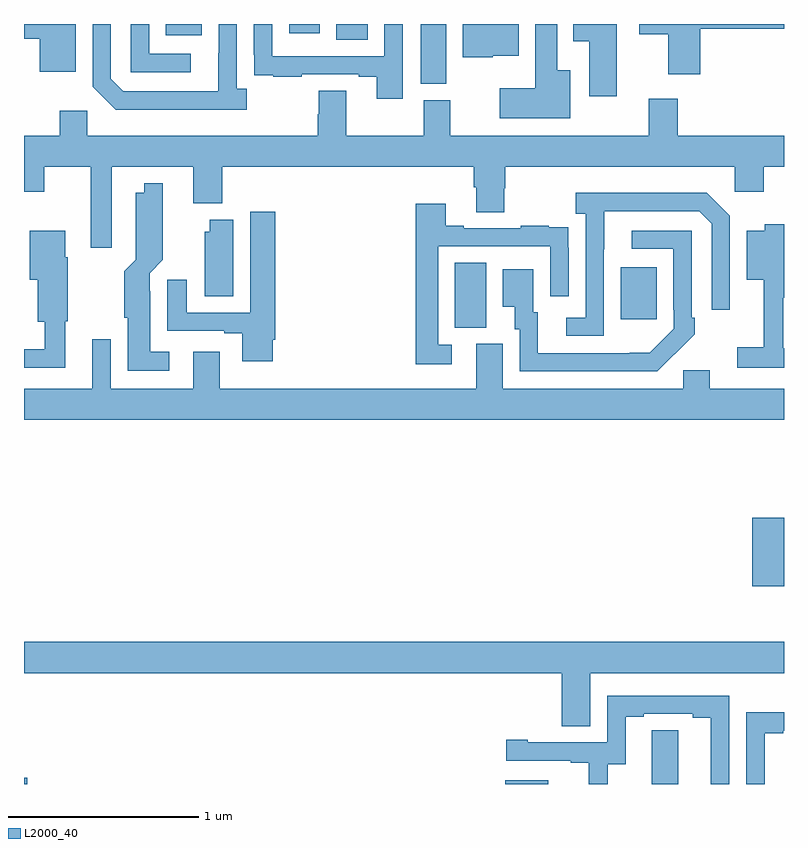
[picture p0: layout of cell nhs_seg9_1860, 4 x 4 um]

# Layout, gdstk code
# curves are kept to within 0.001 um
import gdstk
lib = gdstk.Library(unit=1e-6, precision=1e-09)
def R(c, l, rs):  # rectangles x0, y0, x1, y1
    for r in rs: c.add(gdstk.rectangle(r[:2], r[2:], *l))
def P(c, l, *ps):  # polygons
    for p in ps: c.add(gdstk.Polygon(p, *l))
L2000_40 = (2000, 40)

nhs_seg9_1860 = lib.new_cell('nhs_seg9_1860')
R(nhs_seg9_1860, L2000_40, [(215,1198.5,215.017,1198.532), (217.532,1198.5,217.759,1198.519), (218.834,1199.542,219,1199.902), (217.268,1200.901,217.432,1201.244), (218.141,1200.945,218.329,1201.219), (217.088,1202.185,217.222,1202.5), (216.644,1202.416,216.808,1202.5), (215.747,1202.441,215.935,1202.5), (216.395,1202.451,216.556,1202.5)])
P(nhs_seg9_1860, L2000_40, [(216.172,1202.158),(216.12,1202.158),(216.12,1202.5),(216.024,1202.5),(216.023,1202.145),(215.523,1202.145),(215.457,1202.211),(215.457,1202.5),(215.361,1202.5),(215.361,1202.169),(215.482,1202.048),(216.172,1202.048)],
  [(218.119,1202.5),(217.892,1202.5),(217.892,1202.408),(217.976,1202.408),(217.976,1202.121),(218.119,1202.121)],
  [(215.878,1202.343),(215.658,1202.343),(215.658,1202.5),(215.562,1202.5),(215.562,1202.247),(215.878,1202.247)],
  [(217.467,1202.333),(217.603,1202.333),(217.603,1202.5),(217.31,1202.5),(217.31,1202.324),(217.467,1202.324)],
  [(215.272,1202.5),(215,1202.5),(215,1202.423),(215.084,1202.423),(215.084,1202.249),(215.272,1202.249)],
  [(216.993,1202.5),(216.897,1202.5),(216.897,1202.331),(216.306,1202.331),(216.306,1202.5),(216.21,1202.5),(216.21,1202.338),(216.211,1202.338),(216.211,1202.229),(216.313,1202.229),(216.313,1202.223),(216.461,1202.223),(216.461,1202.235),(216.761,1202.235),(216.761,1202.223),(216.857,1202.223),(216.857,1202.106),(216.993,1202.106)],
  [(218.558,1202.474),(219,1202.474),(219,1202.5),(218.238,1202.5),(218.238,1202.446),(218.39,1202.446),(218.39,1202.235),(218.558,1202.235)],
  [(217.876,1202.257),(217.807,1202.257),(217.807,1202.5),(217.691,1202.5),(217.691,1202.161),(217.503,1202.161),(217.503,1202.003),(217.876,1202.003)],
  [(215.461,1201.748),(215.891,1201.748),(215.891,1201.556),(216.044,1201.556),(216.044,1201.748),(217.367,1201.748),(217.367,1201.642),(217.379,1201.642),(217.379,1201.51),(217.527,1201.51),(217.527,1201.635),(217.532,1201.635),(217.532,1201.748),(218.742,1201.748),(218.742,1201.617),(218.894,1201.617),(218.894,1201.748),(219,1201.748),(219,1201.912),(218.441,1201.912),(218.441,1202.107),(218.288,1202.107),(218.288,1201.912),(217.243,1201.912),(217.243,1202.1),(217.103,1202.1),(217.103,1201.912),(216.697,1201.912),(216.697,1202.15),(216.55,1202.15),(216.55,1202.025),(216.545,1202.025),(216.545,1201.912),(215.334,1201.912),(215.334,1202.044),(215.188,1202.044),(215.188,1201.912),(215,1201.912),(215,1201.617),(215.107,1201.617),(215.107,1201.748),(215.351,1201.748),(215.351,1201.323),(215.461,1201.323)],
  [(215.764,1200.775),(215.665,1200.775),(215.665,1201.094),(215.661,1201.094),(215.661,1201.188),(215.731,1201.258),(215.73,1201.663),(215.633,1201.663),(215.633,1201.612),(215.588,1201.612),(215.588,1201.258),(215.528,1201.199),(215.528,1200.954),(215.546,1200.954),(215.546,1200.674),(215.764,1200.674)],
  [(218.052,1201.315),(218.053,1201.515),(218.553,1201.515),(218.619,1201.449),(218.619,1200.996),(218.715,1200.996),(218.715,1201.491),(218.594,1201.612),(217.905,1201.612),(217.905,1201.502),(217.956,1201.502),(217.956,1200.954),(217.854,1200.954),(217.854,1200.858),(218.052,1200.858)],
  [(217.252,1200.813),(217.179,1200.813),(217.179,1201.329),(217.77,1201.329),(217.77,1201.068),(217.866,1201.068),(217.866,1201.322),(217.865,1201.322),(217.865,1201.431),(217.763,1201.431),(217.763,1201.438),(217.615,1201.438),(217.615,1201.425),(217.315,1201.425),(217.315,1201.438),(217.219,1201.438),(217.219,1201.555),(217.063,1201.555),(217.063,1200.708),(217.252,1200.708)],
  [(216.31,1200.838),(216.323,1200.838),(216.323,1201.513),(216.191,1201.513),(216.191,1200.981),(215.857,1200.981),(215.857,1201.153),(215.753,1201.153),(215.753,1200.885),(216.053,1200.885),(216.053,1200.873),(216.149,1200.873),(216.149,1200.726),(216.31,1200.726)],
  [(216.1,1201.471),(215.978,1201.471),(215.978,1201.407),(215.951,1201.407),(215.951,1201.066),(216.1,1201.066)],
  [(219,1200.793),(218.996,1200.793),(218.996,1201.058),(219,1201.058),(219,1201.447),(218.898,1201.447),(218.898,1201.411),(218.804,1201.411),(218.804,1201.154),(218.894,1201.154),(218.894,1200.799),(218.754,1200.799),(218.754,1200.69),(219,1200.69)],
  [(218.423,1200.763),(218.424,1200.762),(218.529,1200.867),(218.529,1200.955),(218.514,1200.955),(218.514,1201.413),(218.199,1201.413),(218.199,1201.317),(218.418,1201.317),(218.418,1200.997),(218.421,1200.997),(218.421,1200.897),(218.293,1200.769),(217.705,1200.768),(217.705,1200.984),(217.681,1200.984),(217.681,1201.21),(217.52,1201.21),(217.52,1201.013),(217.583,1201.013),(217.583,1200.894),(217.608,1200.894),(217.608,1200.672),(218.332,1200.672)],
  [(215.218,1200.936),(215.23,1200.936),(215.23,1201.272),(215.218,1201.272),(215.218,1201.411),(215.03,1201.411),(215.03,1201.154),(215.072,1201.154),(215.072,1200.932),(215.109,1200.932),(215.109,1200.787),(215,1200.787),(215,1200.69),(215.218,1200.69)],
  [(219,1200.58),(218.608,1200.58),(218.608,1200.678),(218.469,1200.678),(218.469,1200.58),(217.519,1200.58),(217.519,1200.816),(217.379,1200.816),(217.379,1200.58),(216.031,1200.58),(216.031,1200.775),(215.891,1200.775),(215.891,1200.58),(215.457,1200.58),(215.457,1200.841),(215.36,1200.841),(215.36,1200.58),(215,1200.58),(215,1200.416),(219,1200.416)],
  [(217.981,1199.084),(219,1199.084),(219,1199.248),(215,1199.248),(215,1199.084),(217.829,1199.084),(217.829,1198.804),(217.981,1198.804)],
  [(218.073,1198.603),(218.167,1198.603),(218.167,1198.854),(218.263,1198.854),(218.263,1198.869),(218.519,1198.869),(218.519,1198.849),(218.615,1198.849),(218.615,1198.5),(218.712,1198.5),(218.712,1198.965),(218.07,1198.965),(218.07,1198.719),(217.651,1198.719),(217.651,1198.732),(217.539,1198.732),(217.539,1198.623),(217.877,1198.623),(217.877,1198.611),(217.973,1198.611),(217.973,1198.5),(218.073,1198.5)],
  [(218.899,1198.767),(218.995,1198.767),(218.995,1198.779),(219,1198.779),(219,1198.877),(218.802,1198.877),(218.802,1198.5),(218.899,1198.5)],
  [(218.443,1198.784),(218.304,1198.784),(218.304,1198.676),(218.303,1198.676),(218.303,1198.5),(218.443,1198.5)])

lib.write_gds('nhs_seg9_1860.gds')
